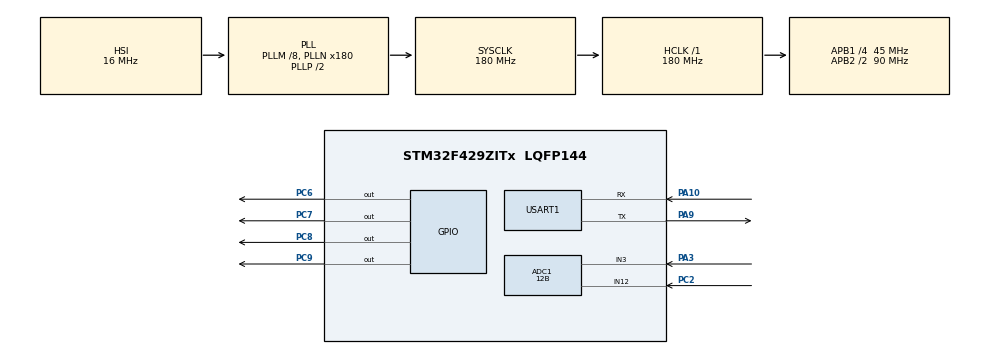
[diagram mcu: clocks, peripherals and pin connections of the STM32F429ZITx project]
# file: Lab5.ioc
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ADC1.Channel-1\#ChannelRegularConversion=ADC_CHANNEL_3
ADC1.Channel-4\#ChannelRegularConversion=ADC_CHANNEL_12
ADC1.ClockPrescaler=ADC_CLOCK_SYNC_PCLK_DIV8
ADC1.ContinuousConvMode=ENABLE
ADC1.DMAContinuousRequests=ENABLE
ADC1.DataAlign=ADC_DATAALIGN_RIGHT
ADC1.DiscontinuousConvMode=DISABLE
ADC1.InjNumberOfConversion=0
ADC1.NbrOfConversion=2
ADC1.NbrOfConversionFlag=1
ADC1.Rank-4\#ChannelRegularConversion=2
ADC1.Resolution=ADC_RESOLUTION_12B
ADC1.SamplingTime-1\#ChannelRegularConversion=ADC_SAMPLETIME_15CYCLES
ADC1.SamplingTime-4\#ChannelRegularConversion=ADC_SAMPLETIME_15CYCLES
ADC1.master=1
Dma.ADC1.0.Direction=DMA_PERIPH_TO_MEMORY
Dma.ADC1.0.FIFOMode=DMA_FIFOMODE_DISABLE
Dma.ADC1.0.Instance=DMA2_Stream0
Dma.ADC1.0.MemDataAlignment=DMA_MDATAALIGN_WORD
Dma.ADC1.0.MemInc=DMA_MINC_ENABLE
Dma.ADC1.0.Mode=DMA_CIRCULAR
Dma.ADC1.0.PeriphDataAlignment=DMA_PDATAALIGN_WORD
Dma.ADC1.0.PeriphInc=DMA_PINC_DISABLE
Dma.ADC1.0.Priority=DMA_PRIORITY_LOW
Dma.Request0=ADC1
Mcu.Family=STM32F4
Mcu.Name=STM32F429ZITx
Mcu.Package=LQFP144
NVIC.DMA2_Stream0_IRQn=true\:1\:0\:true\:false\:true\:false\:true
NVIC.PriorityGroup=NVIC_PRIORITYGROUP_2
PA10.Mode=Asynchronous
PA10.Signal=USART1_RX
PA3.Signal=ADCx_IN3
PA9.Mode=Asynchronous
PA9.Signal=USART1_TX
PC2.Signal=ADCx_IN12
PC6.Signal=GPIO_Output
PC7.Signal=GPIO_Output
PC8.Signal=GPIO_Output
PC9.Signal=GPIO_Output
ProjectManager.HeapSize=0x200
ProjectManager.StackSize=0x400
ProjectManager.TargetToolchain=STM32CubeIDE
RCC.48MHZClocksFreq_Value=90000000
RCC.AHBFreq_Value=180000000
RCC.APB1CLKDivider=RCC_HCLK_DIV4
RCC.APB1Freq_Value=45000000
RCC.APB1TimFreq_Value=90000000
RCC.APB2CLKDivider=RCC_HCLK_DIV2
RCC.APB2Freq_Value=90000000
RCC.APB2TimFreq_Value=180000000
RCC.CortexFreq_Value=180000000
RCC.HCLKFreq_Value=180000000
RCC.HSE_VALUE=25000000
RCC.HSI_VALUE=16000000
RCC.LSE_VALUE=32768
RCC.PLLM=8
RCC.PLLN=180
RCC.RCC_TIM_PRescaler_Selection=RCC_TIMPRES_DESACTIVATED
RCC.SYSCLKFreq_VALUE=180000000
RCC.SYSCLKSource=RCC_SYSCLKSOURCE_PLLCLK
RCC.VCOOutputFreq_Value=360000000
SH.ADCx_IN12.0=ADC1_IN12,IN12
SH.ADCx_IN3.0=ADC1_IN3,IN3
USART1.VirtualMode=VM_ASYNC
board=custom

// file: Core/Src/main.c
/* USER CODE BEGIN Header */
/**
  ******************************************************************************
  * @file           : main.c
  * @brief          : Main program body
  ******************************************************************************
  * @attention
  *
  * <h2><center>&copy; Copyright (c) 2021 STMicroelectronics.
  * All rights reserved.</center></h2>
  *
  * This software component is licensed by ST under BSD 3-Clause license,
  * the "License"; You may not use this file except in compliance with the
  * License. You may obtain a copy of the License at:
  *                        opensource.org/licenses/BSD-3-Clause
  *
  ******************************************************************************
  */
/* USER CODE END Header */
#include "main.h"
#include "adc.h"
#include "dma.h"
#include "usart.h"
#include "gpio.h"

/* USER CODE BEGIN Includes */
#include "stdio.h"
#include "string.h"
/* USER CODE END Includes */

void SystemClock_Config(void);

/* USER CODE BEGIN 0 */
uint32_t hex1 = 501;
int adc_avg_8;
int adc_avg_16;
//volatile uint32_t adc_val = 0;
volatile uint32_t adc_val[2];
volatile int ConversionComplete = 0;
/* USER CODE END 0 */

int main(void)
{

  /* MCU Configuration--------------------------------------------------------*/

  /* Reset of all peripherals, Initializes the Flash interface and the Systick. */
  HAL_Init();

  /* Configure the system clock */
  SystemClock_Config();

  /* Initialize all configured peripherals */
  MX_GPIO_Init();
  MX_ADC1_Init();
  MX_DMA_Init();
  MX_USART1_UART_Init();

  /* Infinite loop */
  while (1)
  {

    /* USER CODE BEGIN 3 */

//	  //	  Number 1
//	  uint32_t hex1 = 501;
//	  displayHEX(hex1);
//	  while(__HAL_UART_GET_FLAG(&huart1,UART_FLAG_TC)==RESET){}
//	  HAL_UART_Transmit(&huart1, (uint8_t *) "\r\n", 4, 100);
//	  HAL_Delay(400);

	  // Number 3
//
//	  HAL_ADC_Start(&hadc1);
//      while(HAL_ADC_PollForConversion(&hadc1, 100) != HAL_OK){}
//	  adc_val = HAL_ADC_GetValue(&hadc1);
//	  adc_avg_8 = average_8(adc_val);
//	  adc_avg_16 = average_16(adc_val);
//
//	  HAL_UART_Transmit(&huart1, (unsigned char*)"ADC1_CH10 ", 10, 100);
//	  displayHEX(adc_val);
//	  HAL_UART_Transmit(&huart1, (unsigned char*)" Vin = ", 7, 100);
//	  char tmp[10];
//	  int a = sprintf(tmp, "%.2f", adc_val * 3.33 / 4096);
//	  HAL_UART_Transmit(&huart1, (unsigned char*)tmp, a, 100);
//	  HAL_UART_Transmit(&huart1, (unsigned char*)"V\r\n", 3, 100);
//	  HAL_Delay(400);

//	  //Number 5
	  adc_val[0] = 0;
	  adc_val[1] = 0;
	  HAL_ADC_Start_DMA(&hadc1,adc_val,2);
	  while(ConversionComplete==0){}
	  ConversionComplete = 0;
	  adc_val[0] += 10;
	  adc_val[1] += 10;
	  HAL_UART_Transmit(&huart1, (unsigned char*)"ADC1_CH10 ", 10, 100);
	  displayHEX(adc_val[0]);
	  HAL_UART_Transmit(&huart1, (unsigned char*)"--------", 3, 100);
	  HAL_UART_Transmit(&huart1, (unsigned char*)"ADC1_CH11 ", 10, 100);
	  displayHEX(adc_val[1]);
	  HAL_UART_Transmit(&huart1, (unsigned char*)"\r\n", 3, 100);
	  HAL_Delay(400);

//	  // Number 4
//
//	  	  HAL_ADC_Start(&hadc1);
//	        while(HAL_ADC_PollForConversion(&hadc1, 100) != HAL_OK){}
//	  	  adc_val = HAL_ADC_GetValue(&hadc1);
//	  	  adc_avg_8 = average_8(adc_val);
//	  	  adc_avg_16 = average_16(adc_val);
//	  	  HAL_UART_Transmit(&huart1, (unsigned char*)"ADC1_CH10 ", 10, 100);
//	  	  displayHEX(adc_val);
//	  	  HAL_UART_Transmit(&huart1, (unsigned char*)" Vin = ", 7, 100);
//	  	  char tmp[10];
//	  	  int a = sprintf(tmp, "%.2f", adc_val * 3.33 / 4096);
//	  	  HAL_UART_Transmit(&huart1, (unsigned char*)tmp, a, 100);
//	  	  HAL_UART_Transmit(&huart1, (unsigned char*)"V", 1, 100);
//	  	  HAL_Delay(400);
//
//	  	//level 1
//	  	if(adc_val<= 820){
//	  		HAL_GPIO_WritePin(GPIOC,GPIO_PIN_6,GPIO_PIN_SET);
//	  		HAL_GPIO_WritePin(GPIOC,GPIO_PIN_7,GPIO_PIN_SET);
//	  		HAL_GPIO_WritePin(GPIOC,GPIO_PIN_8,GPIO_PIN_SET);
//	  		HAL_GPIO_WritePin(GPIOC,GPIO_PIN_9,GPIO_PIN_SET);
//	  		HAL_UART_Transmit(&huart1, (unsigned char*)" Level 1  \r\n", 15, 100);
//	  	}
//	  	//level 2
//	  	else if(adc_val<= 1640 && adc_val>820){
//	  		HAL_GPIO_WritePin(GPIOC,GPIO_PIN_6,GPIO_PIN_RESET);
//	  		HAL_GPIO_WritePin(GPIOC,GPIO_PIN_7,GPIO_PIN_SET);
//	  		HAL_GPIO_WritePin(GPIOC,GPIO_PIN_8,GPIO_PIN_SET);
//	  		HAL_GPIO_WritePin(GPIOC,GPIO_PIN_9,GPIO_PIN_SET);
//	  		HAL_UART_Transmit(&huart1, (unsigned char*)" Level 2  \r\n", 15, 100);
//	  	}
//	  	//level 3
//	  	else if(adc_val<= 2460 && adc_val>1640){
//	  		HAL_GPIO_WritePin(GPIOC,GPIO_PIN_6,GPIO_PIN_RESET);
//	  		HAL_GPIO_WritePin(GPIOC,GPIO_PIN_7,GPIO_PIN_RESET);
//	  		HAL_GPIO_WritePin(GPIOC,GPIO_PIN_8,GPIO_PIN_SET);
//	  		HAL_GPIO_WritePin(GPIOC,GPIO_PIN_9,GPIO_PIN_SET);
//	  		HAL_UART_Transmit(&huart1, (unsigned char*)" Level 3  \r\n", 15, 100);
//	  	}
//	  	//level 4
//	  	else if(adc_val<= 3200 && adc_val>2460){
//	  		HAL_GPIO_WritePin(GPIOC,GPIO_PIN_6,GPIO_PIN_RESET);
//	  		HAL_GPIO_WritePin(GPIOC,GPIO_PIN_7,GPIO_PIN_RESET);
//	  		HAL_GPIO_WritePin(GPIOC,GPIO_PIN_8,GPIO_PIN_RESET);
//	  		HAL_GPIO_WritePin(GPIOC,GPIO_PIN_9,GPIO_PIN_SET);
//	  		HAL_UART_Transmit(&huart1, (unsigned char*)" Level 4  \r\n", 15, 100);
//	  	}
//	  	//level 5
//	  	else{
//	  		HAL_GPIO_WritePin(GPIOC,GPIO_PIN_6,GPIO_PIN_RESET);
//	  		HAL_GPIO_WritePin(GPIOC,GPIO_PIN_7,GPIO_PIN_RESET);
//	  		HAL_GPIO_WritePin(GPIOC,GPIO_PIN_8,GPIO_PIN_RESET);
//	  		HAL_GPIO_WritePin(GPIOC,GPIO_PIN_9,GPIO_PIN_RESET);
//	  		HAL_UART_Transmit(&huart1, (unsigned char*)" Level 5  \r\n", 15, 100);
//	  	}

//
  }
  /* USER CODE END 3 */
}

void SystemClock_Config(void)
{
  RCC_OscInitTypeDef RCC_OscInitStruct = {0};
  RCC_ClkInitTypeDef RCC_ClkInitStruct = {0};

  /** Configure the main internal regulator output voltage
  */
  __HAL_RCC_PWR_CLK_ENABLE();
  __HAL_PWR_VOLTAGESCALING_CONFIG(PWR_REGULATOR_VOLTAGE_SCALE1);
  /** Initializes the RCC Oscillators according to the specified parameters
  * in the RCC_OscInitTypeDef structure.
  */
  RCC_OscInitStruct.OscillatorType = RCC_OSCILLATORTYPE_HSI;
  RCC_OscInitStruct.HSIState = RCC_HSI_ON;
  RCC_OscInitStruct.HSICalibrationValue = RCC_HSICALIBRATION_DEFAULT;
  RCC_OscInitStruct.PLL.PLLState = RCC_PLL_ON;
  RCC_OscInitStruct.PLL.PLLSource = RCC_PLLSOURCE_HSI;
  RCC_OscInitStruct.PLL.PLLM = 8;
  RCC_OscInitStruct.PLL.PLLN = 180;
  RCC_OscInitStruct.PLL.PLLP = RCC_PLLP_DIV2;
  RCC_OscInitStruct.PLL.PLLQ = 4;
  if (HAL_RCC_OscConfig(&RCC_OscInitStruct) != HAL_OK)
  {
    Error_Handler();
  }
  /** Activate the Over-Drive mode
  */
  if (HAL_PWREx_EnableOverDrive() != HAL_OK)
  {
    Error_Handler();
  }
  /** Initializes the CPU, AHB and APB buses clocks
  */
  RCC_ClkInitStruct.ClockType = RCC_CLOCKTYPE_HCLK|RCC_CLOCKTYPE_SYSCLK
                              |RCC_CLOCKTYPE_PCLK1|RCC_CLOCKTYPE_PCLK2;
  RCC_ClkInitStruct.SYSCLKSource = RCC_SYSCLKSOURCE_PLLCLK;
  RCC_ClkInitStruct.AHBCLKDivider = RCC_SYSCLK_DIV1;
  RCC_ClkInitStruct.APB1CLKDivider = RCC_HCLK_DIV4;
  RCC_ClkInitStruct.APB2CLKDivider = RCC_HCLK_DIV2;

  if (HAL_RCC_ClockConfig(&RCC_ClkInitStruct, FLASH_LATENCY_5) != HAL_OK)
  {
    Error_Handler();
  }
}

/* USER CODE BEGIN 4 */
void displayHEX(uint32_t hex){
	char hex_val[10];
	sprintf(hex_val, "0x%08X", hex);
	while(__HAL_UART_GET_FLAG(&huart1,UART_FLAG_TC)==RESET){}
	HAL_UART_Transmit(&huart1, (unsigned char*) hex_val, 10,1000);

}
int average_8(int x){
	static int samples[8];
	static int i = 0;
	static int total = 0;

	/* Update the moving average	 */
	total += x - samples[i];
	samples[i] = x;

	/*Update the index	 */
	i = (i==7 ? 0: i+1);
	return total>>3;
}

int average_16(int x){
	static int samples[16];
	static int i = 0;
	static int total = 0;

	/* Update the moving average	 */
	total += x - samples[i];
	samples[i] = x;

	/*Update the index	 */
	i = (i==15 ? 0: i+1);
	return total>>4;
}

void HAL_ADC_ConvCpltCallback(ADC_HandleTypeDef *hadc){
	ConversionComplete = 1;
}
/* USER CODE END 4 */

void Error_Handler(void)
{
  __disable_irq();
  while (1)
  {
  }
}

/************************ (C) COPYRIGHT STMicroelectronics *****END OF FILE****/
